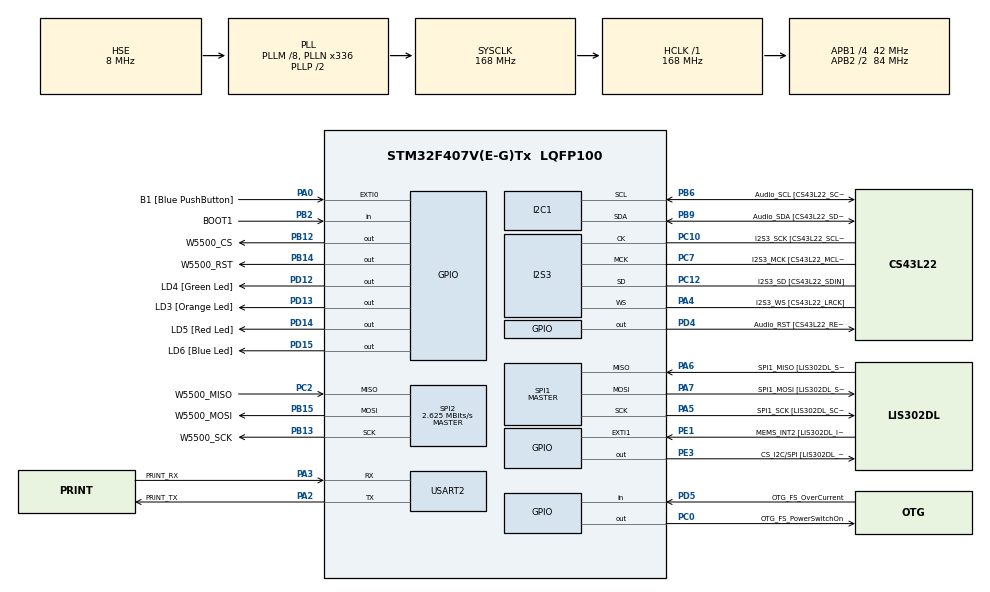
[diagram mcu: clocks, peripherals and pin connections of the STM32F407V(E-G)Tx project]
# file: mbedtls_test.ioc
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I2S3.AudioFreq-Half_Duplex_Master=I2S_AUDIOFREQ_96K
I2S3.ErrorAudioFreq=-2.34 %
I2S3.ErrorAudioFreq-Half_Duplex_Master=0.8 %
I2S3.FullDuplexMode=I2S_FULLDUPLEXMODE_DISABLE
I2S3.Instance=SPI$Index
I2S3.RealAudioFreq=93.75 KHz
I2S3.RealAudioFreq-Half_Duplex_Master=96.774 KHz
I2S3.VirtualMode=I2S_MODE_MASTER
Mcu.Family=STM32F4
Mcu.Name=STM32F407V(E-G)Tx
Mcu.Package=LQFP100
NVIC.PriorityGroup=NVIC_PRIORITYGROUP_0
PA0-WKUP.GPIO_Label=B1 [Blue PushButton]
PA0-WKUP.GPIO_ModeDefaultEXTI=GPIO_MODE_EVT_RISING
PA0-WKUP.GPIO_PuPd=GPIO_NOPULL
PA0-WKUP.Signal=GPXTI0
PA10.GPIO_Label=OTG_FS_ID
PA10.GPIO_Mode=GPIO_MODE_AF_PP
PA10.GPIO_PuPd=GPIO_NOPULL
PA10.GPIO_Speed=GPIO_SPEED_FREQ_LOW
PA10.Signal=USB_OTG_FS_ID
PA11.GPIO_Label=OTG_FS_DM
PA11.GPIO_Mode=GPIO_MODE_AF_PP
PA11.GPIO_PuPd=GPIO_NOPULL
PA11.GPIO_Speed=GPIO_SPEED_FREQ_LOW
PA11.Signal=USB_OTG_FS_DM
PA12.GPIO_Label=OTG_FS_DP
PA12.GPIO_Mode=GPIO_MODE_AF_PP
PA12.GPIO_PuPd=GPIO_NOPULL
PA12.GPIO_Speed=GPIO_SPEED_FREQ_LOW
PA12.Signal=USB_OTG_FS_DP
PA13.GPIO_Label=SWDIO
PA13.Mode=Serial_Wire
PA13.Signal=SYS_JTMS-SWDIO
PA14.GPIO_Label=SWCLK
PA14.Mode=Serial_Wire
PA14.Signal=SYS_JTCK-SWCLK
PA2.GPIO_Label=PRINT_TX
PA2.Mode=Asynchronous
PA2.Signal=USART2_TX
PA3.GPIO_Label=PRINT_RX
PA3.Mode=Asynchronous
PA3.Signal=USART2_RX
PA4.GPIO_Label=I2S3_WS [CS43L22_LRCK]
PA4.GPIO_Mode=GPIO_MODE_AF_PP
PA4.GPIO_PuPd=GPIO_NOPULL
PA4.GPIO_Speed=GPIO_SPEED_FREQ_LOW
PA4.Mode=Half_Duplex_Master
PA4.Signal=I2S3_WS
PA5.GPIO_Label=SPI1_SCK [LIS302DL_SCL/SPC]
PA5.GPIO_Mode=GPIO_MODE_AF_PP
PA5.GPIO_PuPd=GPIO_NOPULL
PA5.GPIO_Speed=GPIO_SPEED_FREQ_LOW
PA5.Mode=Full_Duplex_Master
PA5.Signal=SPI1_SCK
PA6.GPIO_Label=SPI1_MISO [LIS302DL_SDO]
PA6.GPIO_Mode=GPIO_MODE_AF_PP
PA6.GPIO_PuPd=GPIO_NOPULL
PA6.GPIO_Speed=GPIO_SPEED_FREQ_LOW
PA6.Mode=Full_Duplex_Master
PA6.Signal=SPI1_MISO
PA7.GPIO_Label=SPI1_MOSI [LIS302DL_SDA/SDI/SDO]
PA7.GPIO_Mode=GPIO_MODE_AF_PP
PA7.GPIO_PuPd=GPIO_NOPULL
PA7.GPIO_Speed=GPIO_SPEED_FREQ_LOW
PA7.Mode=Full_Duplex_Master
PA7.Signal=SPI1_MOSI
PA9.GPIO_Label=VBUS_FS
PA9.GPIO_Mode=GPIO_MODE_INPUT
PA9.GPIO_PuPd=GPIO_NOPULL
PA9.Signal=USB_OTG_FS_VBUS
PB10.GPIO_Label=CLK_IN [MP45DT02_CLK]
PB10.GPIO_Mode=GPIO_MODE_AF_PP
PB10.GPIO_PuPd=GPIO_NOPULL
PB10.GPIO_Speed=GPIO_SPEED_FREQ_LOW
PB10.Signal=I2S2_CK
PB12.GPIO_Label=W5500_CS
PB12.GPIO_Speed=GPIO_SPEED_FREQ_HIGH
PB12.PinState=GPIO_PIN_SET
PB12.Signal=GPIO_Output
PB13.GPIO_Label=W5500_SCK
PB13.Mode=Full_Duplex_Master
PB13.Signal=SPI2_SCK
PB14.GPIO_Label=W5500_RST
PB14.PinState=GPIO_PIN_SET
PB14.Signal=GPIO_Output
PB15.GPIO_Label=W5500_MOSI
PB15.Mode=Full_Duplex_Master
PB15.Signal=SPI2_MOSI
PB2.GPIO_Label=BOOT1
PB2.GPIO_Mode=GPIO_MODE_INPUT
PB2.GPIO_PuPd=GPIO_NOPULL
PB2.Signal=GPIO_Input
PB3.GPIO_Label=SWO
PB3.Signal=SYS_JTDO-SWO
PB6.GPIO_Label=Audio_SCL [CS43L22_SCL]
PB6.GPIO_Mode=GPIO_MODE_AF_OD
PB6.GPIO_Pu=GPIO_PULLUP
PB6.GPIO_PuPd=GPIO_NOPULL
PB6.GPIO_Speed=GPIO_SPEED_FREQ_LOW
PB6.Mode=I2C
PB6.Signal=I2C1_SCL
PB9.GPIO_Label=Audio_SDA [CS43L22_SDA]
PB9.GPIO_Mode=GPIO_MODE_AF_OD
PB9.GPIO_Pu=GPIO_PULLUP
PB9.GPIO_PuPd=GPIO_NOPULL
PB9.GPIO_Speed=GPIO_SPEED_FREQ_LOW
PB9.Mode=I2C
PB9.Signal=I2C1_SDA
PC0.GPIO_Label=OTG_FS_PowerSwitchOn
PC0.GPIO_PuPd=GPIO_NOPULL
PC0.GPIO_Speed=GPIO_SPEED_FREQ_LOW
PC0.PinState=GPIO_PIN_SET
PC0.Signal=GPIO_Output
PC10.GPIO_Label=I2S3_SCK [CS43L22_SCLK]
PC10.GPIO_Mode=GPIO_MODE_AF_PP
PC10.GPIO_PuPd=GPIO_NOPULL
PC10.GPIO_Speed=GPIO_SPEED_FREQ_LOW
PC10.Mode=Half_Duplex_Master
PC10.Signal=I2S3_CK
PC12.GPIO_Label=I2S3_SD [CS43L22_SDIN]
PC12.GPIO_Mode=GPIO_MODE_AF_PP
PC12.GPIO_PuPd=GPIO_NOPULL
PC12.GPIO_Speed=GPIO_SPEED_FREQ_LOW
PC12.Mode=Half_Duplex_Master
PC12.Signal=I2S3_SD
PC14-OSC32_IN.GPIO_Label=PC14-OSC32_IN
PC14-OSC32_IN.Mode=LSE-External-Oscillator
PC14-OSC32_IN.Signal=RCC_OSC32_IN
PC15-OSC32_OUT.GPIO_Label=PC15-OSC32_OUT
PC15-OSC32_OUT.Mode=LSE-External-Oscillator
PC15-OSC32_OUT.Signal=RCC_OSC32_OUT
PC2.GPIO_Label=W5500_MISO
PC2.Mode=Full_Duplex_Master
PC2.Signal=SPI2_MISO
PC3.GPIO_Label=PDM_OUT [MP45DT02_DOUT]
PC3.GPIO_Mode=GPIO_MODE_AF_PP
PC3.GPIO_PuPd=GPIO_NOPULL
PC3.GPIO_Speed=GPIO_SPEED_FREQ_LOW
PC3.Signal=I2S2_SD
PC7.GPIO_Label=I2S3_MCK [CS43L22_MCLK]
PC7.GPIO_Mode=GPIO_MODE_AF_PP
PC7.GPIO_PuPd=GPIO_NOPULL
PC7.GPIO_Speed=GPIO_SPEED_FREQ_LOW
PC7.Mode=Master_Clock_Activated
PC7.Signal=I2S3_MCK
PD12.GPIO_Label=LD4 [Green Led]
PD12.GPIO_PuPd=GPIO_NOPULL
PD12.GPIO_Speed=GPIO_SPEED_FREQ_LOW
PD12.Signal=GPIO_Output
PD13.GPIO_Label=LD3 [Orange Led]
PD13.GPIO_PuPd=GPIO_NOPULL
PD13.GPIO_Speed=GPIO_SPEED_FREQ_LOW
PD13.Signal=GPIO_Output
PD14.GPIO_Label=LD5 [Red Led]
PD14.GPIO_PuPd=GPIO_NOPULL
PD14.GPIO_Speed=GPIO_SPEED_FREQ_LOW
PD14.Signal=GPIO_Output
PD15.GPIO_Label=LD6 [Blue Led]
PD15.GPIO_PuPd=GPIO_NOPULL
PD15.GPIO_Speed=GPIO_SPEED_FREQ_LOW
PD15.Signal=GPIO_Output
PD4.GPIO_Label=Audio_RST [CS43L22_RESET]
PD4.GPIO_PuPd=GPIO_NOPULL
PD4.GPIO_Speed=GPIO_SPEED_FREQ_LOW
PD4.Signal=GPIO_Output
PD5.GPIO_Label=OTG_FS_OverCurrent
PD5.GPIO_Mode=GPIO_MODE_INPUT
PD5.GPIO_PuPd=GPIO_NOPULL
PD5.Signal=GPIO_Input
PE1.GPIO_Label=MEMS_INT2 [LIS302DL_INT2]
PE1.GPIO_ModeDefaultEXTI=GPIO_MODE_EVT_RISING
PE1.GPIO_PuPd=GPIO_NOPULL
PE1.Signal=GPXTI1
PE3.GPIO_Label=CS_I2C/SPI [LIS302DL_CS_I2C/SPI]
PE3.GPIO_PuPd=GPIO_NOPULL
PE3.GPIO_Speed=GPIO_SPEED_FREQ_LOW
PE3.Signal=GPIO_Output
PH0-OSC_IN.GPIO_Label=PH0-OSC_IN
PH0-OSC_IN.Mode=HSE-External-Oscillator
PH0-OSC_IN.Signal=RCC_OSC_IN
PH1-OSC_OUT.GPIO_Label=PH1-OSC_OUT
PH1-OSC_OUT.Mode=HSE-External-Oscillator
PH1-OSC_OUT.Signal=RCC_OSC_OUT
ProjectManager.HeapSize=0x200
ProjectManager.StackSize=0x400
ProjectManager.TargetToolchain=STM32CubeIDE
RCC.48MHZClocksFreq_Value=48000000
RCC.AHBFreq_Value=168000000
RCC.APB1CLKDivider=RCC_HCLK_DIV4
RCC.APB1Freq_Value=42000000
RCC.APB1TimFreq_Value=84000000
RCC.APB2CLKDivider=RCC_HCLK_DIV2
RCC.APB2Freq_Value=84000000
RCC.APB2TimFreq_Value=168000000
RCC.CortexFreq_Value=168000000
RCC.HCLKFreq_Value=168000000
RCC.HSE_VALUE=8000000
RCC.HSI_VALUE=16000000
RCC.PLLM=8
RCC.PLLN=336
RCC.PLLQ=7
RCC.PLLSourceVirtual=RCC_PLLSOURCE_HSE
RCC.SYSCLKFreq_VALUE=168000000
RCC.SYSCLKSource=RCC_SYSCLKSOURCE_PLLCLK
RCC.VCOOutputFreq_Value=336000000
SPI1.BaudRatePrescaler-Full_Duplex_Master=SPI_BAUDRATEPRESCALER_2
SPI1.CalculateBaudRate-Full_Duplex_Master=42.0 MBits/s
SPI1.Direction=SPI_DIRECTION_2LINES
SPI1.Mode=SPI_MODE_MASTER
SPI1.Mode-Full_Duplex_Master=SPI_MODE_MASTER
SPI1.VirtualType=VM_MASTER
SPI2.BaudRatePrescaler=SPI_BAUDRATEPRESCALER_16
SPI2.CalculateBaudRate=2.625 MBits/s
SPI2.Direction=SPI_DIRECTION_2LINES
SPI2.Mode=SPI_MODE_MASTER
SPI2.VirtualType=VM_MASTER
USART2.VirtualMode=VM_ASYNC
VP_CRC_VS_CRC.Mode=CRC_Activate
board=STM32F407G-DISC1

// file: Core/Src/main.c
/* USER CODE BEGIN Header */
/**
  ******************************************************************************
  * @file           : main.c
  * @brief          : Main program body
  ******************************************************************************
  * @attention
  *
  * Copyright (c) 2023 STMicroelectronics.
  * All rights reserved.
  *
  * This software is licensed under terms that can be found in the LICENSE file
  * in the root directory of this software component.
  * If no LICENSE file comes with this software, it is provided AS-IS.
  *
  ******************************************************************************
  */
/* USER CODE END Header */
#include "main.h"

/* USER CODE BEGIN Includes */
#include "wizchip.h"
#include "stdio.h"
#include "SSLInterface.h"
#include "HexTrans.h"
#include "http_client.h"
/* USER CODE END Includes */

/* USER CODE BEGIN PD */
#define ETH_MAX_BUF_SIZE	2048
#define SERVER_PORT			4443
/* USER CODE END PD */

 CRC_HandleTypeDef hcrc;

I2C_HandleTypeDef hi2c1;

I2S_HandleTypeDef hi2s3;

SPI_HandleTypeDef hspi1;
SPI_HandleTypeDef hspi2;

UART_HandleTypeDef huart2;

/* USER CODE BEGIN PV */
//unsigned char gServer_IP[4] = {8,8,8,8};
unsigned char gServer_IP[4] = {192,168,0,116};
//unsigned char gServer_IP[4] = {222,98,173,239};
//unsigned char gServer_IP[4] = {222,98,173,230};
//unsigned char gServer_IP[4] = {192,168,0,230};
unsigned char ethBuf0[ETH_MAX_BUF_SIZE];
uint8_t rxData[2];
/* USER CODE END PV */

void SystemClock_Config(void);
static void MX_GPIO_Init(void);
static void MX_I2C1_Init(void);
static void MX_I2S3_Init(void);
static void MX_SPI1_Init(void);
static void MX_CRC_Init(void);
static void MX_SPI2_Init(void);
static void MX_USART2_UART_Init(void);
/* USER CODE BEGIN PFP */
void print_network_information(void);

int _write(int fd, char *str, int len)
{
	for(int i=0; i<len; i++)
	{
		HAL_UART_Transmit(&huart2, (uint8_t *)&str[i], 1, 0xFFFF);
	}
	return len;
}
/* USER CODE END PFP */

/* USER CODE BEGIN 0 */
w5500chip_t w5500;

uint8_t Domain_IP[4]  = {192, 168, 0, 116};                  // Translated IP address by DNS Server
//uint8_t Domain_IP[4]  = {8, 8, 8, 8};                  // Translated IP address by DNS Server
//uint8_t Domain_name[] = "www.kma.go.kr";
//uint8_t URI[] = "/wid/queryDFSRSS.jsp?zone=4113552000";
uint8_t Domain_name[] = "192.168.0.116";
uint8_t URI[] = "/index.html";
uint8_t flag_sent_http_request = DISABLE;

uint8_t g_send_buf[DATA_BUF_SIZE];
uint8_t g_recv_buf[DATA_BUF_SIZE];

uint8_t data_buf [DATA_BUF_SIZE]; // TX Buffer for applications
//uint8_t fl_buf[] = "hello";
//uint8_t fl_sector[4096] = {0,};
/* USER CODE END 0 */

int main(void)
{
  /* USER CODE BEGIN 1 */
  int len, server_fd = 0;
  unsigned int ret = 0;
  wiz_tls_context tlsContext;
  /* USER CODE END 1 */

  /* MCU Configuration--------------------------------------------------------*/

  /* Reset of all peripherals, Initializes the Flash interface and the Systick. */
  HAL_Init();

  /* Configure the system clock */
  SystemClock_Config();

  /* Initialize all configured peripherals */
  MX_GPIO_Init();
  MX_I2C1_Init();
  MX_I2S3_Init();
  MX_SPI1_Init();
  MX_CRC_Init();
  MX_SPI2_Init();
  MX_USART2_UART_Init();
  /* USER CODE BEGIN 2 */
  w5500_init(&w5500);
  print_network_information();
  /*  initialize ssl context  */
  ret = wiz_tls_init(&tlsContext, &server_fd);
//  httpc_init(0, Domain_IP, 4443, g_send_buf, g_recv_buf);

//  httpc_connection_handler();
//  if(httpc_isSockOpen)
//  {
//	  httpc_connect(&tlsContext);
//  }
//  httpc_connection_handler();
//  httpc_connect(&tlsContext);

  /*  Connect to the ssl server  */
  wiz_tls_connect(&tlsContext, SERVER_PORT, gServer_IP);
  printf("connect end \r\n");
  /* USER CODE END 2 */

  /* Infinite loop */
  while (1)
  {

    /* USER CODE BEGIN 3 */
#if 0
	loopback_tcps(0, data_buf, 5000, AS_IPV6);
	loopback_tcps(1, data_buf, 5001, AS_IPV4);
#endif

//		printf("%s : %d \r\n", ethBuf0, len);
		char get[] = "GET /index.html HTTP/1.1\r\nHost: 192.168.0.116\r\n";
		/*  Write data to the SSL channel  */
		wiz_tls_write(&tlsContext, get, strlen(get));
		if(len > 0)
		{
			len = wiz_tls_read(&tlsContext, ethBuf0, ETH_MAX_BUF_SIZE);
		/*  Send close notify  */
		if(wiz_tls_close_notify(&tlsContext) == 0)
			printf("SSL closed\r\n");

		/*  Free tls context  */
		wiz_tls_deinit(&tlsContext);

		ret = wiz_tls_init(&tlsContext, &server_fd);
		wiz_tls_connect(&tlsContext, SERVER_PORT, gServer_IP);
		}
	}
  }
//  while (1)
//  {
//    /* USER CODE END WHILE */
//
//    /* USER CODE BEGIN 3 */
////	  httpc_connection_handler();
////	  if(httpc_isSockOpen)
////	  {
////		  httpc_connect(&tlsContext);
////	  }
//	  // HTTP client example
////	  httpc_connection_handler();
//	  // Recv: HTTP response
//	  httpc_connection_handler();
//	  if(httpc_isConnected)
//	  {
//		  // Send: HTTP request
//		  request.method = (uint8_t *)HTTP_GET;
//		  request.uri = (uint8_t *)URI;
//		  request.host = (uint8_t *)Domain_name;
//
//		  // HTTP client example #1: Function for send HTTP request (header and body fields are integrated)
//		  {
////			  httpc_connection_handler();
//			  httpc_send(&tlsContext, &request, g_recv_buf, g_send_buf, 0);
////			  if(wiz_tls_close_notify(&tlsContext) == 0)
////			  		printf("SSL closed\r\n");
////
////			  	/*  Free tls context  */
////			  	wiz_tls_deinit(&tlsContext);
////			    ret = wiz_tls_init(&tlsContext, &server_fd);
////			    httpc_connection_handler();
////			    httpc_connect(&tlsContext);
////			    httpc_connection_handler();
//		  }
//
//		  // HTTP client example #2: Separate functions for HTTP request - default header + body
//		  {
//			  //httpc_send_header(&request, g_recv_buf, NULL, len);
//			  //httpc_send_body(g_send_buf, len); // Send HTTP requset message body
//		  }
//
//		  // HTTP client example #3: Separate functions for HTTP request with custom header fields - default header + custom header + body
//		  {
//			  //httpc_add_customHeader_field(tmpbuf, "Custom-Auth", "auth_method_string"); // custom header field extended - example #1
//			  //httpc_add_customHeader_field(tmpbuf, "Key", "auth_key_string"); // custom header field extended - example #2
//			  //httpc_send_header(&request, g_recv_buf, tmpbuf, len);
//			  //httpc_send_body(g_send_buf, len);
//		  }
//		  flag_sent_http_request = ENABLE;
//	  }
////	  httpc_connection_handler();
////	  if(httpc_isReceived > 0)
////	  {
////		  len = httpc_recv(&tlsContext, g_recv_buf, httpc_isReceived);
////
////		  printf(" >> HTTP Response - Received len: %d\r\n", len);
////		  printf("======================================================\r\n");
////		  for(int i = 0; i < len; i++)
////			  printf("%c", g_recv_buf[i]);
////		  printf("\r\n");
////		  printf("======================================================\r\n");
////	  }
//	  HAL_Delay(2000);
//  }
  /* USER CODE END 3 */
//}

void SystemClock_Config(void)
{
  RCC_OscInitTypeDef RCC_OscInitStruct = {0};
  RCC_ClkInitTypeDef RCC_ClkInitStruct = {0};

  /** Configure the main internal regulator output voltage
  */
  __HAL_RCC_PWR_CLK_ENABLE();
  __HAL_PWR_VOLTAGESCALING_CONFIG(PWR_REGULATOR_VOLTAGE_SCALE1);

  /** Initializes the RCC Oscillators according to the specified parameters
  * in the RCC_OscInitTypeDef structure.
  */
  RCC_OscInitStruct.OscillatorType = RCC_OSCILLATORTYPE_HSE;
  RCC_OscInitStruct.HSEState = RCC_HSE_ON;
  RCC_OscInitStruct.PLL.PLLState = RCC_PLL_ON;
  RCC_OscInitStruct.PLL.PLLSource = RCC_PLLSOURCE_HSE;
  RCC_OscInitStruct.PLL.PLLM = 8;
  RCC_OscInitStruct.PLL.PLLN = 336;
  RCC_OscInitStruct.PLL.PLLP = RCC_PLLP_DIV2;
  RCC_OscInitStruct.PLL.PLLQ = 7;
  if (HAL_RCC_OscConfig(&RCC_OscInitStruct) != HAL_OK)
  {
    Error_Handler();
  }

  /** Initializes the CPU, AHB and APB buses clocks
  */
  RCC_ClkInitStruct.ClockType = RCC_CLOCKTYPE_HCLK|RCC_CLOCKTYPE_SYSCLK
                              |RCC_CLOCKTYPE_PCLK1|RCC_CLOCKTYPE_PCLK2;
  RCC_ClkInitStruct.SYSCLKSource = RCC_SYSCLKSOURCE_PLLCLK;
  RCC_ClkInitStruct.AHBCLKDivider = RCC_SYSCLK_DIV1;
  RCC_ClkInitStruct.APB1CLKDivider = RCC_HCLK_DIV4;
  RCC_ClkInitStruct.APB2CLKDivider = RCC_HCLK_DIV2;

  if (HAL_RCC_ClockConfig(&RCC_ClkInitStruct, FLASH_LATENCY_5) != HAL_OK)
  {
    Error_Handler();
  }
}

static void MX_CRC_Init(void)
{

  hcrc.Instance = CRC;
  if (HAL_CRC_Init(&hcrc) != HAL_OK)
  {
    Error_Handler();
  }

}

static void MX_I2C1_Init(void)
{

  hi2c1.Instance = I2C1;
  hi2c1.Init.ClockSpeed = 100000;
  hi2c1.Init.DutyCycle = I2C_DUTYCYCLE_2;
  hi2c1.Init.OwnAddress1 = 0;
  hi2c1.Init.AddressingMode = I2C_ADDRESSINGMODE_7BIT;
  hi2c1.Init.DualAddressMode = I2C_DUALADDRESS_DISABLE;
  hi2c1.Init.OwnAddress2 = 0;
  hi2c1.Init.GeneralCallMode = I2C_GENERALCALL_DISABLE;
  hi2c1.Init.NoStretchMode = I2C_NOSTRETCH_DISABLE;
  if (HAL_I2C_Init(&hi2c1) != HAL_OK)
  {
    Error_Handler();
  }

}

static void MX_I2S3_Init(void)
{

  hi2s3.Instance = SPI3;
  hi2s3.Init.Mode = I2S_MODE_MASTER_TX;
  hi2s3.Init.Standard = I2S_STANDARD_PHILIPS;
  hi2s3.Init.DataFormat = I2S_DATAFORMAT_16B;
  hi2s3.Init.MCLKOutput = I2S_MCLKOUTPUT_ENABLE;
  hi2s3.Init.AudioFreq = I2S_AUDIOFREQ_96K;
  hi2s3.Init.CPOL = I2S_CPOL_LOW;
  hi2s3.Init.ClockSource = I2S_CLOCK_PLL;
  hi2s3.Init.FullDuplexMode = I2S_FULLDUPLEXMODE_DISABLE;
  if (HAL_I2S_Init(&hi2s3) != HAL_OK)
  {
    Error_Handler();
  }

}

static void MX_SPI1_Init(void)
{

  /* SPI1 parameter configuration*/
  hspi1.Instance = SPI1;
  hspi1.Init.Mode = SPI_MODE_MASTER;
  hspi1.Init.Direction = SPI_DIRECTION_2LINES;
  hspi1.Init.DataSize = SPI_DATASIZE_8BIT;
  hspi1.Init.CLKPolarity = SPI_POLARITY_LOW;
  hspi1.Init.CLKPhase = SPI_PHASE_1EDGE;
  hspi1.Init.NSS = SPI_NSS_SOFT;
  hspi1.Init.BaudRatePrescaler = SPI_BAUDRATEPRESCALER_2;
  hspi1.Init.FirstBit = SPI_FIRSTBIT_MSB;
  hspi1.Init.TIMode = SPI_TIMODE_DISABLE;
  hspi1.Init.CRCCalculation = SPI_CRCCALCULATION_DISABLE;
  hspi1.Init.CRCPolynomial = 10;
  if (HAL_SPI_Init(&hspi1) != HAL_OK)
  {
    Error_Handler();
  }

}

static void MX_SPI2_Init(void)
{

  /* SPI2 parameter configuration*/
  hspi2.Instance = SPI2;
  hspi2.Init.Mode = SPI_MODE_MASTER;
  hspi2.Init.Direction = SPI_DIRECTION_2LINES;
  hspi2.Init.DataSize = SPI_DATASIZE_8BIT;
  hspi2.Init.CLKPolarity = SPI_POLARITY_LOW;
  hspi2.Init.CLKPhase = SPI_PHASE_1EDGE;
  hspi2.Init.NSS = SPI_NSS_SOFT;
  hspi2.Init.BaudRatePrescaler = SPI_BAUDRATEPRESCALER_16;
  hspi2.Init.FirstBit = SPI_FIRSTBIT_MSB;
  hspi2.Init.TIMode = SPI_TIMODE_DISABLE;
  hspi2.Init.CRCCalculation = SPI_CRCCALCULATION_DISABLE;
  hspi2.Init.CRCPolynomial = 10;
  if (HAL_SPI_Init(&hspi2) != HAL_OK)
  {
    Error_Handler();
  }

}

static void MX_USART2_UART_Init(void)
{

  huart2.Instance = USART2;
  huart2.Init.BaudRate = 115200;
  huart2.Init.WordLength = UART_WORDLENGTH_8B;
  huart2.Init.StopBits = UART_STOPBITS_1;
  huart2.Init.Parity = UART_PARITY_NONE;
  huart2.Init.Mode = UART_MODE_TX_RX;
  huart2.Init.HwFlowCtl = UART_HWCONTROL_NONE;
  huart2.Init.OverSampling = UART_OVERSAMPLING_16;
  if (HAL_UART_Init(&huart2) != HAL_OK)
  {
    Error_Handler();
  }

}

static void MX_GPIO_Init(void)
{
  GPIO_InitTypeDef GPIO_InitStruct = {0};

  /* GPIO Ports Clock Enable */
  __HAL_RCC_GPIOE_CLK_ENABLE();
  __HAL_RCC_GPIOC_CLK_ENABLE();
  __HAL_RCC_GPIOH_CLK_ENABLE();
  __HAL_RCC_GPIOA_CLK_ENABLE();
  __HAL_RCC_GPIOB_CLK_ENABLE();
  __HAL_RCC_GPIOD_CLK_ENABLE();

  /*Configure GPIO pin Output Level */
  HAL_GPIO_WritePin(CS_I2C_SPI_GPIO_Port, CS_I2C_SPI_Pin, GPIO_PIN_RESET);

  /*Configure GPIO pin Output Level */
  HAL_GPIO_WritePin(OTG_FS_PowerSwitchOn_GPIO_Port, OTG_FS_PowerSwitchOn_Pin, GPIO_PIN_SET);

  /*Configure GPIO pin Output Level */
  HAL_GPIO_WritePin(GPIOB, W5500_CS_Pin|W5500_RST_Pin, GPIO_PIN_SET);

  /*Configure GPIO pin Output Level */
  HAL_GPIO_WritePin(GPIOD, LD4_Pin|LD3_Pin|LD5_Pin|LD6_Pin
                          |Audio_RST_Pin, GPIO_PIN_RESET);

  /*Configure GPIO pin : CS_I2C_SPI_Pin */
  GPIO_InitStruct.Pin = CS_I2C_SPI_Pin;
  GPIO_InitStruct.Mode = GPIO_MODE_OUTPUT_PP;
  GPIO_InitStruct.Pull = GPIO_NOPULL;
  GPIO_InitStruct.Speed = GPIO_SPEED_FREQ_LOW;
  HAL_GPIO_Init(CS_I2C_SPI_GPIO_Port, &GPIO_InitStruct);

  /*Configure GPIO pin : OTG_FS_PowerSwitchOn_Pin */
  GPIO_InitStruct.Pin = OTG_FS_PowerSwitchOn_Pin;
  GPIO_InitStruct.Mode = GPIO_MODE_OUTPUT_PP;
  GPIO_InitStruct.Pull = GPIO_NOPULL;
  GPIO_InitStruct.Speed = GPIO_SPEED_FREQ_LOW;
  HAL_GPIO_Init(OTG_FS_PowerSwitchOn_GPIO_Port, &GPIO_InitStruct);

  /*Configure GPIO pin : PDM_OUT_Pin */
  GPIO_InitStruct.Pin = PDM_OUT_Pin;
  GPIO_InitStruct.Mode = GPIO_MODE_AF_PP;
  GPIO_InitStruct.Pull = GPIO_NOPULL;
  GPIO_InitStruct.Speed = GPIO_SPEED_FREQ_LOW;
  GPIO_InitStruct.Alternate = GPIO_AF5_SPI2;
  HAL_GPIO_Init(PDM_OUT_GPIO_Port, &GPIO_InitStruct);

  /*Configure GPIO pin : B1_Pin */
  GPIO_InitStruct.Pin = B1_Pin;
  GPIO_InitStruct.Mode = GPIO_MODE_EVT_RISING;
  GPIO_InitStruct.Pull = GPIO_NOPULL;
  HAL_GPIO_Init(B1_GPIO_Port, &GPIO_InitStruct);

  /*Configure GPIO pin : BOOT1_Pin */
  GPIO_InitStruct.Pin = BOOT1_Pin;
  GPIO_InitStruct.Mode = GPIO_MODE_INPUT;
  GPIO_InitStruct.Pull = GPIO_NOPULL;
  HAL_GPIO_Init(BOOT1_GPIO_Port, &GPIO_InitStruct);

  /*Configure GPIO pin : CLK_IN_Pin */
  GPIO_InitStruct.Pin = CLK_IN_Pin;
  GPIO_InitStruct.Mode = GPIO_MODE_AF_PP;
  GPIO_InitStruct.Pull = GPIO_NOPULL;
  GPIO_InitStruct.Speed = GPIO_SPEED_FREQ_LOW;
  GPIO_InitStruct.Alternate = GPIO_AF5_SPI2;
  HAL_GPIO_Init(CLK_IN_GPIO_Port, &GPIO_InitStruct);

  /*Configure GPIO pin : W5500_CS_Pin */
  GPIO_InitStruct.Pin = W5500_CS_Pin;
  GPIO_InitStruct.Mode = GPIO_MODE_OUTPUT_PP;
  GPIO_InitStruct.Pull = GPIO_NOPULL;
  GPIO_InitStruct.Speed = GPIO_SPEED_FREQ_HIGH;
  HAL_GPIO_Init(W5500_CS_GPIO_Port, &GPIO_InitStruct);

  /*Configure GPIO pin : W5500_RST_Pin */
  GPIO_InitStruct.Pin = W5500_RST_Pin;
  GPIO_InitStruct.Mode = GPIO_MODE_OUTPUT_PP;
  GPIO_InitStruct.Pull = GPIO_NOPULL;
  GPIO_InitStruct.Speed = GPIO_SPEED_FREQ_LOW;
  HAL_GPIO_Init(W5500_RST_GPIO_Port, &GPIO_InitStruct);

  /*Configure GPIO pins : LD4_Pin LD3_Pin LD5_Pin LD6_Pin
                           Audio_RST_Pin */
  GPIO_InitStruct.Pin = LD4_Pin|LD3_Pin|LD5_Pin|LD6_Pin
                          |Audio_RST_Pin;
  GPIO_InitStruct.Mode = GPIO_MODE_OUTPUT_PP;
  GPIO_InitStruct.Pull = GPIO_NOPULL;
  GPIO_InitStruct.Speed = GPIO_SPEED_FREQ_LOW;
  HAL_GPIO_Init(GPIOD, &GPIO_InitStruct);

  /*Configure GPIO pin : VBUS_FS_Pin */
  GPIO_InitStruct.Pin = VBUS_FS_Pin;
  GPIO_InitStruct.Mode = GPIO_MODE_INPUT;
  GPIO_InitStruct.Pull = GPIO_NOPULL;
  HAL_GPIO_Init(VBUS_FS_GPIO_Port, &GPIO_InitStruct);

  /*Configure GPIO pins : OTG_FS_ID_Pin OTG_FS_DM_Pin OTG_FS_DP_Pin */
  GPIO_InitStruct.Pin = OTG_FS_ID_Pin|OTG_FS_DM_Pin|OTG_FS_DP_Pin;
  GPIO_InitStruct.Mode = GPIO_MODE_AF_PP;
  GPIO_InitStruct.Pull = GPIO_NOPULL;
  GPIO_InitStruct.Speed = GPIO_SPEED_FREQ_LOW;
  GPIO_InitStruct.Alternate = GPIO_AF10_OTG_FS;
  HAL_GPIO_Init(GPIOA, &GPIO_InitStruct);

  /*Configure GPIO pin : OTG_FS_OverCurrent_Pin */
  GPIO_InitStruct.Pin = OTG_FS_OverCurrent_Pin;
  GPIO_InitStruct.Mode = GPIO_MODE_INPUT;
  GPIO_InitStruct.Pull = GPIO_NOPULL;
  HAL_GPIO_Init(OTG_FS_OverCurrent_GPIO_Port, &GPIO_InitStruct);

  /*Configure GPIO pin : MEMS_INT2_Pin */
  GPIO_InitStruct.Pin = MEMS_INT2_Pin;
  GPIO_InitStruct.Mode = GPIO_MODE_EVT_RISING;
  GPIO_InitStruct.Pull = GPIO_NOPULL;
  HAL_GPIO_Init(MEMS_INT2_GPIO_Port, &GPIO_InitStruct);

}

/* USER CODE BEGIN 4 */
void print_network_information(void)
{
	printf("Mac address: %02x:%02x:%02x:%02x:%02x:%02x\n\r", w5500.netinfo.mac[0], w5500.netinfo.mac[1], w5500.netinfo.mac[2], w5500.netinfo.mac[3], w5500.netinfo.mac[4], w5500.netinfo.mac[5]);
	printf("IP address : %d.%d.%d.%d\n\r", w5500.netinfo.ip[0], w5500.netinfo.ip[1], w5500.netinfo.ip[2], w5500.netinfo.ip[3]);
	printf("SM Mask	   : %d.%d.%d.%d\n\r", w5500.netinfo.sn[0], w5500.netinfo.sn[1], w5500.netinfo.sn[2], w5500.netinfo.sn[3]);
	printf("Gate way   : %d.%d.%d.%d\n\r", w5500.netinfo.gw[0], w5500.netinfo.gw[1], w5500.netinfo.gw[2], w5500.netinfo.gw[3]);
	printf("DNS Server : %d.%d.%d.%d\n\r", w5500.netinfo.dns[0], w5500.netinfo.dns[1], w5500.netinfo.dns[2], w5500.netinfo.dns[3]);
}
/* USER CODE END 4 */

void Error_Handler(void)
{
  __disable_irq();
  while (1)
  {
  }
}
